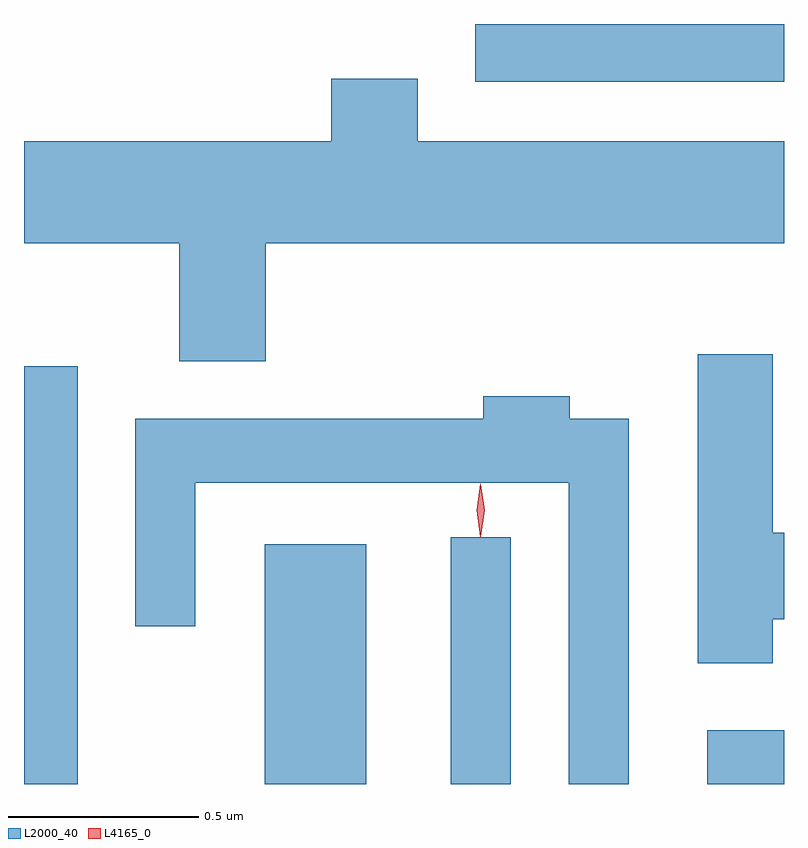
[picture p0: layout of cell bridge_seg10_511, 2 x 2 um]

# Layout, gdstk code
import gdstk
lib = gdstk.Library(unit=1e-6, precision=1e-09)
def R(c, l, rs):  # rectangles x0, y0, x1, y1
    for r in rs: c.add(gdstk.rectangle(r[:2], r[2:], *l))
def P(c, l, *ps):  # polygons
    for p in ps: c.add(gdstk.Polygon(p, *l))
L2000_40 = (2000, 40)
L4165_0 = (4165, 0)

bridge_seg10_511 = lib.new_cell('bridge_seg10_511')
R(bridge_seg10_511, L2000_40, [(857.323,2163.553,857.464,2164.653), (857.956,2163.553,858.224,2164.184), (858.446,2163.553,858.604,2164.203), (859.121,2163.553,859.323,2163.694), (858.511,2165.401,859.323,2165.553)])
P(bridge_seg10_511, L2000_40, [(857.959,2164.976),(859.323,2164.976),(859.323,2165.244),(858.359,2165.244),(858.359,2165.409),(858.131,2165.409),(858.131,2165.244),(857.323,2165.244),(857.323,2164.976),(857.731,2164.976),(857.731,2164.666),(857.959,2164.666)],
  [(859.294,2163.986),(859.323,2163.986),(859.323,2164.214),(859.294,2164.214),(859.294,2164.684),(859.096,2164.684),(859.096,2163.871),(859.294,2163.871)],
  [(858.914,2164.514),(858.759,2164.514),(858.759,2164.574),(858.531,2164.574),(858.531,2164.514),(857.616,2164.514),(857.616,2163.968),(857.774,2163.968),(857.774,2164.346),(858.756,2164.346),(858.756,2163.553),(858.914,2163.553)])
P(bridge_seg10_511, L4165_0, [(858.524,2164.204),(858.515,2164.274),(858.524,2164.342),(858.525,2164.343),(858.525,2164.342),(858.535,2164.274),(858.525,2164.204),(858.525,2164.204)],
  [(858.524,2164.207),(858.515,2164.274),(858.524,2164.34),(858.525,2164.34),(858.525,2164.34),(858.535,2164.274),(858.525,2164.207),(858.525,2164.207)])

lib.write_gds('bridge_seg10_511.gds')
